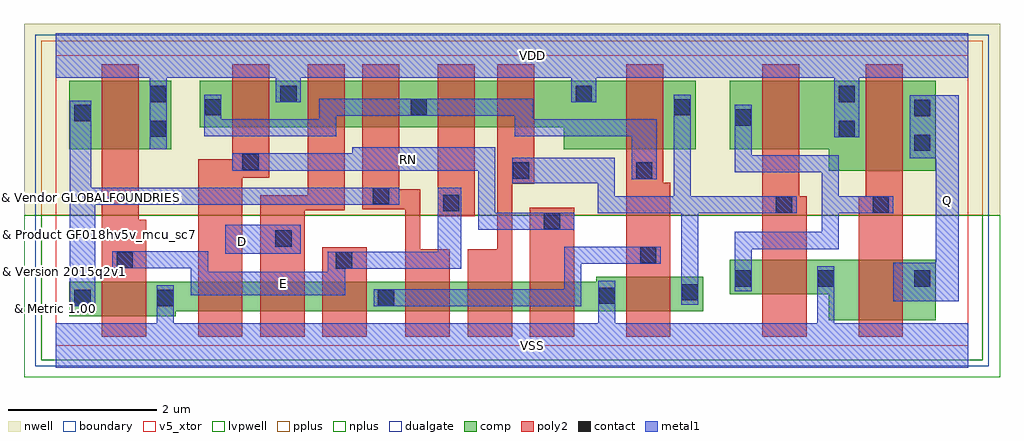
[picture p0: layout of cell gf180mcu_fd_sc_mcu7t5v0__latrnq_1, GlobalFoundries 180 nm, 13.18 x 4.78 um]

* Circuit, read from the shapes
.subckt gf180mcu_fd_sc_mcu7t5v0__latrnq_1 D E Q RN VDD VSS
XM1 VSS E n1 VSUBS nfet_05v0 w=0.465u l=0.6u
XM2 n2 RN VSS VSUBS nfet_05v0 w=0.395u l=0.6u
XM3 n3 D n2 VSUBS nfet_05v0 w=0.395u l=0.6u
XM4 n4 E n3 VSUBS nfet_05v0 w=0.395u l=0.6u
XM5 n5 n1 n4 VSUBS nfet_05v0 w=0.395u l=0.6u
XM6 n6 n7 n5 VSUBS nfet_05v0 w=0.395u l=0.6u
XM7 VSS RN n6 VSUBS nfet_05v0 w=0.395u l=0.6u
XM8 n7 n4 VSS VSUBS nfet_05v0 w=0.465u l=0.6u
XM9 VSS n7 n8 VSUBS nfet_05v0 w=0.465u l=0.6u
XM10 Q n8 VSS VSUBS nfet_05v0 w=0.82u l=0.6u
XM11 VDD E n1 n9 pfet_05v0 w=0.925u l=0.5u
XM12 VDD RN n4 n9 pfet_05v0 w=0.63u l=0.5u
XM13 n10 D VDD n9 pfet_05v0 w=0.63u l=0.5u
XM14 n4 n1 n10 n9 pfet_05v0 w=0.63u l=0.5u
XM15 n11 E n4 n9 pfet_05v0 w=0.63u l=0.5u
XM16 VDD n7 n11 n9 pfet_05v0 w=0.63u l=0.5u
XM17 n7 n4 VDD n9 pfet_05v0 w=0.925u l=0.5u
XM18 VDD n7 n8 n9 pfet_05v0 w=0.925u l=0.5u
XM19 Q n8 VDD n9 pfet_05v0 w=1.22u l=0.5u
.ends

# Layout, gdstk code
import gdstk
lib = gdstk.Library(unit=1e-6, precision=1e-09)
def R(c, l, rs):  # rectangles x0, y0, x1, y1
    for r in rs: c.add(gdstk.rectangle(r[:2], r[2:], *l))
def P(c, l, *ps):  # polygons
    for p in ps: c.add(gdstk.Polygon(p, *l))
boundary = (0, 0)
nwell = (21, 0)
comp = (22, 0)
poly2 = (30, 0)
pplus = (31, 0)
nplus = (32, 0)
contact = (33, 0)
metal1 = (34, 0)
dualgate = (55, 0)
v5_xtor = (112, 1)
lvpwell = (204, 0)

gf180mcu_fd_sc_mcu7t5v0_ = lib.new_cell('gf180mcu_fd_sc_mcu7t5v0__latrnq_1')
R(gf180mcu_fd_sc_mcu7t5v0_, boundary, [(0,0,12.32,3.92)])
R(gf180mcu_fd_sc_mcu7t5v0_, nwell, [(-0.43,1.76,12.75,4.35)])
R(gf180mcu_fd_sc_mcu7t5v0_, comp, [(0.18,2.655,1.56,3.58)])
P(gf180mcu_fd_sc_mcu7t5v0_, comp, [(6.86,2.655),(6.86,2.95),(1.94,2.95),(1.94,3.58),(8.64,3.58),(8.64,2.655)],
  [(0.18,0.395),(0.18,0.86),(7.3,0.86),(7.3,0.93),(8.74,0.93),(8.74,0.465),(1.62,0.465),(1.62,0.395)],
  [(10.44,0.34),(10.44,0.695),(9.1,0.695),(9.1,1.16),(11.88,1.16),(11.88,0.34)],
  [(10.44,2.36),(10.44,2.655),(9.1,2.655),(9.1,3.58),(11.88,3.58),(11.88,2.36)])
R(gf180mcu_fd_sc_mcu7t5v0_, poly2, [(3.6,0.12,4.2,1.33), (6.4,0.12,7,1.86), (5.16,1.745,5.66,3.8)])
P(gf180mcu_fd_sc_mcu7t5v0_, poly2, [(0.62,0.12),(0.62,3.8),(1.12,3.8),(1.12,1.7),(1.22,1.7),(1.22,0.12)],
  [(1.92,0.12),(1.92,2.52),(2.38,2.52),(2.38,3.8),(2.88,3.8),(2.88,2.27),(2.52,2.27),(2.52,0.12)],
  [(2.76,0.12),(2.76,2.03),(3.4,2.03),(3.4,3.8),(3.9,3.8),(3.9,1.83),(3.36,1.83),(3.36,0.12)],
  [(4.72,0.12),(4.72,1.84),(4.14,1.84),(4.14,3.8),(4.64,3.8),(4.64,2.115),(4.92,2.115),(4.92,1.3),(5.32,1.3),(5.32,0.12)],
  [(5.56,0.12),(5.56,1.3),(5.96,1.3),(5.96,3.8),(6.46,3.8),(6.46,2.185),(6.16,2.185),(6.16,0.12)],
  [(7.7,0.12),(7.7,3.8),(8.2,3.8),(8.2,2.2),(8.3,2.2),(8.3,0.12)],
  [(9.54,0.12),(9.54,3.8),(10.04,3.8),(10.04,2.02),(10.14,2.02),(10.14,0.12)],
  [(10.84,0.12),(10.84,2.02),(10.94,2.02),(10.94,3.8),(11.44,3.8),(11.44,0.12)])
R(gf180mcu_fd_sc_mcu7t5v0_, pplus, [(-0.2,1.76,12.52,4.12)])
R(gf180mcu_fd_sc_mcu7t5v0_, nplus, [(-0.2,-0.2,12.52,1.76)])
R(gf180mcu_fd_sc_mcu7t5v0_, contact, [(0.25,0.535,0.47,0.755), (1.37,0.535,1.59,0.755), (4.35,0.535,4.57,0.755), (7.33,0.565,7.55,0.785), (8.45,0.61,8.67,0.83), (9.17,0.795,9.39,1.015), (10.29,0.795,10.51,1.015), (11.59,0.795,11.81,1.015), (3.78,1.04,4,1.26), (0.82,1.05,1.04,1.27), (7.89,1.11,8.11,1.33), (2.965,1.335,3.185,1.555), (6.59,1.57,6.81,1.79), (9.725,1.795,9.945,2.015), (11.03,1.795,11.25,2.015), (5.23,1.815,5.45,2.035), (4.28,1.91,4.5,2.13), (6.17,2.255,6.39,2.475), (7.835,2.255,8.055,2.475), (2.52,2.37,2.74,2.59), (11.59,2.63,11.81,2.85), (1.27,2.82,1.49,3.04), (10.57,2.82,10.79,3.04), (9.17,2.97,9.39,3.19), (0.25,3.03,0.47,3.25), (11.59,3.1,11.81,3.32), (2.01,3.11,2.23,3.33), (4.79,3.11,5.01,3.33), (8.35,3.11,8.57,3.33), (1.27,3.29,1.49,3.51), (3.03,3.29,3.25,3.51), (7.02,3.29,7.24,3.51), (10.57,3.29,10.79,3.51)])
R(gf180mcu_fd_sc_mcu7t5v0_, metal1, [(2.285,1.24,3.31,1.63)])
P(gf180mcu_fd_sc_mcu7t5v0_, metal1, [(0.19,0.53),(0.19,3.31),(0.475,3.31),(0.475,2.135),(4.64,2.135),(4.64,1.905),(0.53,1.905),(0.53,0.53)],
  [(1.825,0.68),(1.825,1.045),(0.76,1.045),(0.76,1.275),(2.055,1.275),(2.055,1),(3.675,1),(3.675,1.265),(5.16,1.265),(5.16,2.135),(5.475,2.135),(5.475,1.035),(3.905,1.035),(3.905,0.68)],
  [(5.705,1.565),(5.705,2.365),(2.38,2.365),(2.38,2.595),(4,2.595),(4,2.68),(5.935,2.68),(5.935,1.795),(7,1.795),(7,1.565)],
  [(7.775,2.25),(7.775,2.825),(6.195,2.825),(6.195,3.105),(3.79,3.105),(3.79,2.825),(2.005,2.825),(2.005,3.39),(2.235,3.39),(2.235,3.055),(3.56,3.055),(3.56,3.335),(6.445,3.335),(6.445,3.055),(8.115,3.055),(8.115,2.25)],
  [(4.29,0.53),(4.29,0.76),(6.865,0.76),(6.865,1.335),(8.17,1.335),(8.17,1.105),(7.095,1.105),(7.095,0.53)],
  [(8.445,0.55),(8.445,1.79),(7.315,1.79),(7.315,2.195),(6.165,2.195),(6.165,2.535),(7.545,2.535),(7.545,2.02),(8.345,2.02),(8.345,3.39),(8.575,3.39),(8.575,2.02),(10.005,2.02),(10.005,1.79),(8.675,1.79),(8.675,0.55)],
  [(9.165,0.735),(9.165,1.535),(10.345,1.535),(10.345,2.34),(9.165,2.34),(9.165,3.25),(9.395,3.25),(9.395,2.57),(10.575,2.57),(10.575,2.02),(11.31,2.02),(11.31,1.79),(10.575,1.79),(10.575,1.305),(9.395,1.305),(9.395,0.735)],
  [(11.31,0.6),(11.31,1.12),(11.88,1.12),(11.88,2.53),(11.53,2.53),(11.53,3.38),(12.19,3.38),(12.19,0.6)],
  [(0,-0.3),(0,0.3),(1.365,0.3),(1.365,0.815),(1.595,0.815),(1.595,0.3),(7.325,0.3),(7.325,0.875),(7.555,0.875),(7.555,0.3),(10.285,0.3),(10.285,1.075),(10.515,1.075),(10.515,0.3),(12.32,0.3),(12.32,-0.3)],
  [(1.265,2.655),(1.265,3.62),(0,3.62),(0,4.22),(12.32,4.22),(12.32,3.62),(10.85,3.62),(10.85,2.815),(10.51,2.815),(10.51,3.62),(7.3,3.62),(7.3,3.285),(6.96,3.285),(6.96,3.62),(3.31,3.62),(3.31,3.285),(2.97,3.285),(2.97,3.62),(1.495,3.62),(1.495,2.655)])
R(gf180mcu_fd_sc_mcu7t5v0_, dualgate, [(-0.28,-0.28,12.6,4.2)])
R(gf180mcu_fd_sc_mcu7t5v0_, v5_xtor, [(0,0,12.32,3.92)])
R(gf180mcu_fd_sc_mcu7t5v0_, lvpwell, [(-0.43,-0.43,12.75,1.76)])
gf180mcu_fd_sc_mcu7t5v0_.add(gdstk.Label('Q', (12.04,1.96), layer=34, texttype=10))
gf180mcu_fd_sc_mcu7t5v0_.add(gdstk.Label('RN', (4.76,2.52), layer=34, texttype=10))
gf180mcu_fd_sc_mcu7t5v0_.add(gdstk.Label('VSS', (6.44,0), layer=34, texttype=10))
gf180mcu_fd_sc_mcu7t5v0_.add(gdstk.Label('E', (3.08,0.84), layer=34, texttype=10))
gf180mcu_fd_sc_mcu7t5v0_.add(gdstk.Label('VDD', (6.44,3.92), layer=34, texttype=10))
gf180mcu_fd_sc_mcu7t5v0_.add(gdstk.Label('D', (2.52,1.4), layer=34, texttype=10))
gf180mcu_fd_sc_mcu7t5v0_.add(gdstk.Label('& Vendor GLOBALFOUNDRIES', (0,2), layer=63, texttype=63))
gf180mcu_fd_sc_mcu7t5v0_.add(gdstk.Label('& Product GF018hv5v_mcu_sc7', (0,1.5), layer=63, texttype=63))
gf180mcu_fd_sc_mcu7t5v0_.add(gdstk.Label('& Version 2015q2v1', (0,1), layer=63, texttype=63))
gf180mcu_fd_sc_mcu7t5v0_.add(gdstk.Label('& Metric 1.00', (0,0.5), layer=63, texttype=63))

lib.write_gds('gf180mcu_fd_sc_mcu7t5v0__latrnq_1.gds')
